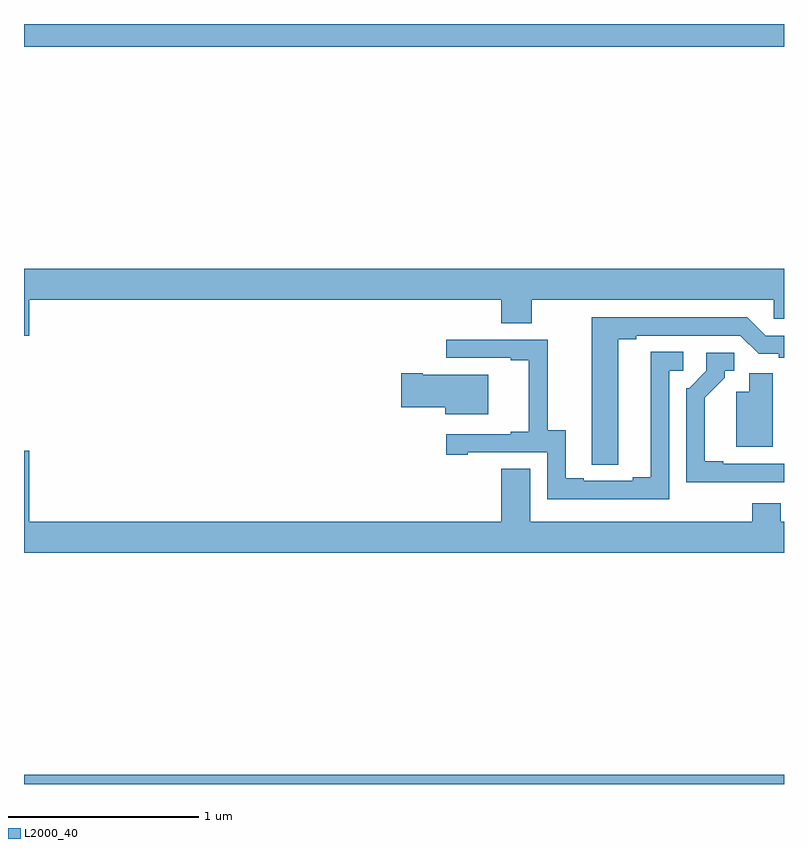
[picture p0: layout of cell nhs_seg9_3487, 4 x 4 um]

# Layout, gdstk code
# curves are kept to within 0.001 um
import gdstk
lib = gdstk.Library(unit=1e-6, precision=1e-09)
def R(c, l, rs):  # rectangles x0, y0, x1, y1
    for r in rs: c.add(gdstk.rectangle(r[:2], r[2:], *l))
def P(c, l, *ps):  # polygons
    for p in ps: c.add(gdstk.Polygon(p, *l))
L2000_40 = (2000, 40)

nhs_seg9_3487 = lib.new_cell('nhs_seg9_3487')
R(nhs_seg9_3487, L2000_40, [(309,1232.5,313,1232.548), (309,1236.38,313,1236.5)])
P(nhs_seg9_3487, L2000_40, [(309.028,1235.048),(311.513,1235.048),(311.513,1234.924),(311.673,1234.924),(311.673,1235.048),(312.945,1235.048),(312.945,1234.95),(313,1234.95),(313,1235.212),(309,1235.212),(309,1234.86),(309.028,1234.86)],
  [(312.127,1234.84),(312.223,1234.84),(312.223,1234.86),(312.771,1234.86),(312.867,1234.764),(312.972,1234.764),(312.972,1234.744),(313,1234.744),(313,1234.86),(312.903,1234.86),(312.807,1234.956),(311.987,1234.956),(311.988,1234.18),(312.127,1234.18)],
  [(312.396,1234.674),(312.469,1234.674),(312.469,1234.775),(312.299,1234.775),(312.299,1234.115),(312.203,1234.115),(312.203,1234.095),(311.947,1234.095),(311.947,1234.11),(311.851,1234.11),(311.851,1234.361),(311.757,1234.361),(311.757,1234.839),(311.223,1234.839),(311.223,1234.743),(311.561,1234.743),(311.561,1234.731),(311.657,1234.731),(311.657,1234.354),(311.561,1234.354),(311.561,1234.341),(311.223,1234.341),(311.223,1234.233),(311.335,1234.233),(311.335,1234.245),(311.754,1234.245),(311.754,1233.999),(312.396,1233.999)],
  [(312.749,1234.089),(313,1234.089),(313,1234.185),(312.679,1234.185),(312.679,1234.198),(312.583,1234.198),(312.583,1234.534),(312.688,1234.639),(312.688,1234.674),(312.738,1234.674),(312.738,1234.77),(312.591,1234.77),(312.591,1234.674),(312.501,1234.584),(312.486,1234.584),(312.486,1234.088)],
  [(311.443,1234.654),(311.098,1234.654),(311.098,1234.662),(310.986,1234.662),(310.986,1234.484),(311.216,1234.484),(311.216,1234.445),(311.443,1234.445)],
  [(312.94,1234.662),(312.818,1234.662),(312.818,1234.564),(312.749,1234.564),(312.749,1234.274),(312.94,1234.274)],
  [(313,1233.88),(312.984,1233.88),(312.984,1233.978),(312.833,1233.978),(312.833,1233.88),(311.665,1233.88),(311.665,1234.16),(311.513,1234.16),(311.513,1233.88),(309.028,1233.88),(309.028,1234.255),(309,1234.255),(309,1233.716),(313,1233.716)])

lib.write_gds('nhs_seg9_3487.gds')
